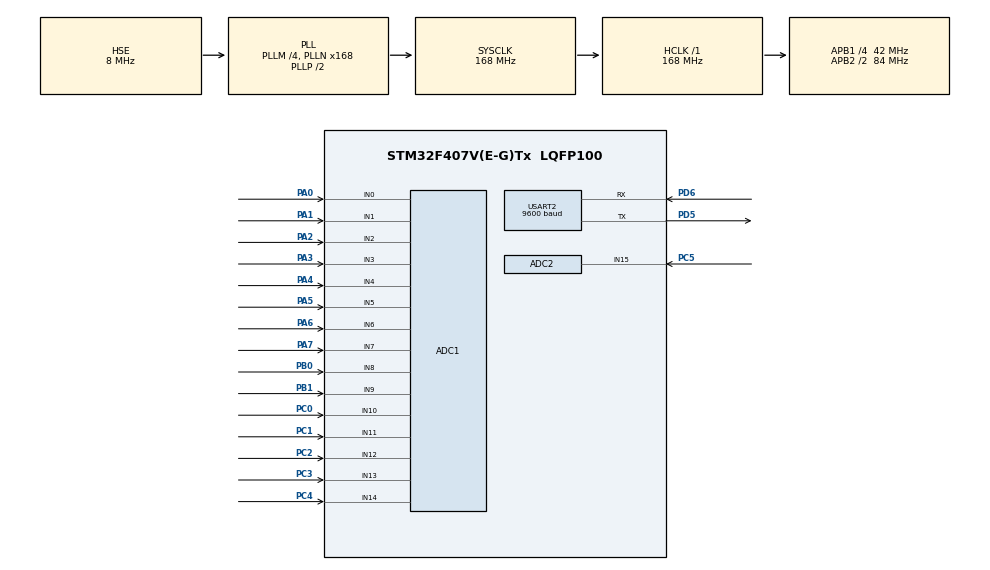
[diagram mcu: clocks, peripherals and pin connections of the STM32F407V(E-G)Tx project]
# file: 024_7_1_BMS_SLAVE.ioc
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ADC1.Channel-0\#ChannelRegularConversion=ADC_CHANNEL_VREFINT
ADC1.Channel-1\#ChannelRegularConversion=ADC_CHANNEL_0
ADC1.Channel-10\#ChannelRegularConversion=ADC_CHANNEL_9
ADC1.Channel-11\#ChannelRegularConversion=ADC_CHANNEL_10
ADC1.Channel-12\#ChannelRegularConversion=ADC_CHANNEL_11
ADC1.Channel-13\#ChannelRegularConversion=ADC_CHANNEL_12
ADC1.Channel-14\#ChannelRegularConversion=ADC_CHANNEL_13
ADC1.Channel-15\#ChannelRegularConversion=ADC_CHANNEL_14
ADC1.Channel-2\#ChannelRegularConversion=ADC_CHANNEL_1
ADC1.Channel-3\#ChannelRegularConversion=ADC_CHANNEL_2
ADC1.Channel-4\#ChannelRegularConversion=ADC_CHANNEL_3
ADC1.Channel-5\#ChannelRegularConversion=ADC_CHANNEL_4
ADC1.Channel-6\#ChannelRegularConversion=ADC_CHANNEL_5
ADC1.Channel-7\#ChannelRegularConversion=ADC_CHANNEL_6
ADC1.Channel-8\#ChannelRegularConversion=ADC_CHANNEL_7
ADC1.Channel-9\#ChannelRegularConversion=ADC_CHANNEL_8
ADC1.ClockPrescaler=ADC_CLOCK_SYNC_PCLK_DIV4
ADC1.ContinuousConvMode=ENABLE
ADC1.DMAContinuousRequests=ENABLE
ADC1.NbrOfConversion=16
ADC1.NbrOfConversionFlag=1
ADC1.Rank-0\#ChannelRegularConversion=1
ADC1.Rank-1\#ChannelRegularConversion=2
ADC1.Rank-10\#ChannelRegularConversion=11
ADC1.Rank-11\#ChannelRegularConversion=12
ADC1.Rank-12\#ChannelRegularConversion=13
ADC1.Rank-13\#ChannelRegularConversion=14
ADC1.Rank-14\#ChannelRegularConversion=15
ADC1.Rank-15\#ChannelRegularConversion=16
ADC1.Rank-2\#ChannelRegularConversion=3
ADC1.Rank-3\#ChannelRegularConversion=4
ADC1.Rank-4\#ChannelRegularConversion=5
ADC1.Rank-5\#ChannelRegularConversion=6
ADC1.Rank-6\#ChannelRegularConversion=7
ADC1.Rank-7\#ChannelRegularConversion=8
ADC1.Rank-8\#ChannelRegularConversion=9
ADC1.Rank-9\#ChannelRegularConversion=10
ADC1.SamplingTime-0\#ChannelRegularConversion=ADC_SAMPLETIME_84CYCLES
ADC1.SamplingTime-1\#ChannelRegularConversion=ADC_SAMPLETIME_84CYCLES
ADC1.SamplingTime-10\#ChannelRegularConversion=ADC_SAMPLETIME_84CYCLES
ADC1.SamplingTime-11\#ChannelRegularConversion=ADC_SAMPLETIME_84CYCLES
ADC1.SamplingTime-12\#ChannelRegularConversion=ADC_SAMPLETIME_84CYCLES
ADC1.SamplingTime-13\#ChannelRegularConversion=ADC_SAMPLETIME_84CYCLES
ADC1.SamplingTime-14\#ChannelRegularConversion=ADC_SAMPLETIME_84CYCLES
ADC1.SamplingTime-15\#ChannelRegularConversion=ADC_SAMPLETIME_84CYCLES
ADC1.SamplingTime-2\#ChannelRegularConversion=ADC_SAMPLETIME_84CYCLES
ADC1.SamplingTime-3\#ChannelRegularConversion=ADC_SAMPLETIME_84CYCLES
ADC1.SamplingTime-4\#ChannelRegularConversion=ADC_SAMPLETIME_84CYCLES
ADC1.SamplingTime-5\#ChannelRegularConversion=ADC_SAMPLETIME_84CYCLES
ADC1.SamplingTime-6\#ChannelRegularConversion=ADC_SAMPLETIME_84CYCLES
ADC1.SamplingTime-7\#ChannelRegularConversion=ADC_SAMPLETIME_84CYCLES
ADC1.SamplingTime-8\#ChannelRegularConversion=ADC_SAMPLETIME_84CYCLES
ADC1.SamplingTime-9\#ChannelRegularConversion=ADC_SAMPLETIME_84CYCLES
ADC1.ScanConvMode=ENABLE
ADC1.master=1
ADC2.Channel-0\#ChannelRegularConversion=ADC_CHANNEL_15
ADC2.NbrOfConversionFlag=1
ADC2.Rank-0\#ChannelRegularConversion=1
ADC2.SamplingTime-0\#ChannelRegularConversion=ADC_SAMPLETIME_84CYCLES
ADC2.ScanConvMode=ENABLE
Dma.ADC1.0.Direction=DMA_PERIPH_TO_MEMORY
Dma.ADC1.0.FIFOMode=DMA_FIFOMODE_DISABLE
Dma.ADC1.0.Instance=DMA2_Stream0
Dma.ADC1.0.MemDataAlignment=DMA_MDATAALIGN_HALFWORD
Dma.ADC1.0.MemInc=DMA_MINC_ENABLE
Dma.ADC1.0.Mode=DMA_CIRCULAR
Dma.ADC1.0.PeriphDataAlignment=DMA_PDATAALIGN_HALFWORD
Dma.ADC1.0.PeriphInc=DMA_PINC_DISABLE
Dma.ADC1.0.Priority=DMA_PRIORITY_VERY_HIGH
Dma.Request0=ADC1
Mcu.Family=STM32F4
Mcu.Name=STM32F407V(E-G)Tx
Mcu.Package=LQFP100
NVIC.DMA2_Stream0_IRQn=true\:0\:0\:false\:false\:true\:false\:true
NVIC.PriorityGroup=NVIC_PRIORITYGROUP_4
PA0-WKUP.Signal=ADCx_IN0
PA1.Signal=ADCx_IN1
PA2.Signal=ADCx_IN2
PA3.Signal=ADCx_IN3
PA4.Signal=ADCx_IN4
PA5.Signal=ADCx_IN5
PA6.Signal=ADCx_IN6
PA7.Signal=ADCx_IN7
PB0.Signal=ADCx_IN8
PB1.Signal=ADCx_IN9
PC0.Signal=ADCx_IN10
PC1.Signal=ADCx_IN11
PC2.Signal=ADCx_IN12
PC3.Signal=ADCx_IN13
PC4.Signal=ADCx_IN14
PC5.Signal=ADCx_IN15
PD5.Mode=Asynchronous
PD5.Signal=USART2_TX
PD6.Mode=Asynchronous
PD6.Signal=USART2_RX
PH0-OSC_IN.Mode=HSE-External-Oscillator
PH0-OSC_IN.Signal=RCC_OSC_IN
PH1-OSC_OUT.Mode=HSE-External-Oscillator
PH1-OSC_OUT.Signal=RCC_OSC_OUT
ProjectManager.HeapSize=0x200
ProjectManager.StackSize=0x400
ProjectManager.TargetToolchain=STM32CubeIDE
RCC.48MHZClocksFreq_Value=84000000
RCC.AHBFreq_Value=168000000
RCC.APB1CLKDivider=RCC_HCLK_DIV4
RCC.APB1Freq_Value=42000000
RCC.APB1TimFreq_Value=84000000
RCC.APB2CLKDivider=RCC_HCLK_DIV2
RCC.APB2Freq_Value=84000000
RCC.APB2TimFreq_Value=168000000
RCC.CortexFreq_Value=168000000
RCC.HCLKFreq_Value=168000000
RCC.HSE_VALUE=8000000
RCC.HSI_VALUE=16000000
RCC.LSE_VALUE=32768
RCC.PLLM=4
RCC.PLLN=168
RCC.PLLSourceVirtual=RCC_PLLSOURCE_HSE
RCC.SYSCLKFreq_VALUE=168000000
RCC.SYSCLKSource=RCC_SYSCLKSOURCE_PLLCLK
RCC.VCOOutputFreq_Value=336000000
SH.ADCx_IN0.0=ADC1_IN0,IN0
SH.ADCx_IN1.0=ADC1_IN1,IN1
SH.ADCx_IN10.0=ADC1_IN10,IN10
SH.ADCx_IN11.0=ADC1_IN11,IN11
SH.ADCx_IN12.0=ADC1_IN12,IN12
SH.ADCx_IN13.0=ADC1_IN13,IN13
SH.ADCx_IN14.0=ADC1_IN14,IN14
SH.ADCx_IN15.0=ADC2_IN15,IN15
SH.ADCx_IN2.0=ADC1_IN2,IN2
SH.ADCx_IN3.0=ADC1_IN3,IN3
SH.ADCx_IN4.0=ADC1_IN4,IN4
SH.ADCx_IN5.0=ADC1_IN5,IN5
SH.ADCx_IN6.0=ADC1_IN6,IN6
SH.ADCx_IN7.0=ADC1_IN7,IN7
SH.ADCx_IN8.0=ADC1_IN8,IN8
SH.ADCx_IN9.0=ADC1_IN9,IN9
USART2.BaudRate=9600
USART2.Mode=MODE_TX_RX
USART2.VirtualMode=VM_ASYNC
VP_ADC1_Vref_Input.Mode=IN-Vrefint
board=custom

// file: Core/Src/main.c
/* USER CODE BEGIN Header */
/**
  ******************************************************************************
  * @file           : main.c
  * @brief          : Main program body
  ******************************************************************************
  * @attention
  *
  * <h2><center>&copy; Copyright (c) 2021 STMicroelectronics.
  * All rights reserved.</center></h2>
  *
  * This software component is licensed by ST under BSD 3-Clause license,
  * the "License"; You may not use this file except in compliance with the
  * License. You may obtain a copy of the License at:
  *                        opensource.org/licenses/BSD-3-Clause
  *
  ******************************************************************************
  */
/* USER CODE END Header */
#include "main.h"

/* USER CODE BEGIN Includes */
#include "stdio.h"
#include "string.h"

#define VREFIN_CAL ((uint16_t*)((uint32_t)0x1FFF7A2A))

/* USER CODE END Includes */

ADC_HandleTypeDef hadc1;
ADC_HandleTypeDef hadc2;
DMA_HandleTypeDef hdma_adc1;

UART_HandleTypeDef huart2;

/* USER CODE BEGIN PV */
uint16_t adc_value[17];
//uint16_t adc_15;
float Vadc = 0, Vdda = 0;
float test = 0;
int i;
float V_CEL[16];
float pil[] = {71.576456, 43.267892, 95.734543, 88.55656};
char gonder[100] = "";

/* USER CODE END PV */

void SystemClock_Config(void);
static void MX_GPIO_Init(void);
static void MX_DMA_Init(void);
static void MX_ADC1_Init(void);
static void MX_ADC2_Init(void);
static void MX_USART2_UART_Init(void);

int main(void)
{

  /* MCU Configuration--------------------------------------------------------*/

  /* Reset of all peripherals, Initializes the Flash interface and the Systick. */
  HAL_Init();

  /* Configure the system clock */
  SystemClock_Config();

  /* Initialize all configured peripherals */
  MX_GPIO_Init();
  MX_DMA_Init();
  MX_ADC1_Init();
  MX_ADC2_Init();
  MX_USART2_UART_Init();
  /* USER CODE BEGIN 2 */
  HAL_ADC_Start_DMA(&hadc1, (uint32_t*)adc_value, 16);
  HAL_ADC_Start(&hadc2);

  /* USER CODE END 2 */

  /* Infinite loop */
  /* USER CODE BEGIN WHILE */
  while (1)
  {
	  // ADC 0. KANAL VREF VOLTAJI Dİ�?ERLERİ GERİLİM OKUMA "A1 > 22K-22K","A2 > 22K-10K","A2 -A3 > 22K-4.7K","A4-A20 <"
	  adc_value[16]=HAL_ADC_GetValue(&hadc2);
	  test = adc_value[0];
	  Vdda = (float) 3.3 * (*VREFIN_CAL) / test;
	  for(i=1; 16 >= i; i++)
	  {
		  V_CEL[i-1] = adc_value[i];
	  }
	  for(i=0; 15 >= i; i++)
	  {
		  V_CEL[i] = V_CEL[i] / 4095 * Vdda;
	  }
	  V_CEL[0] = V_CEL[0] * 2;//GERİLİM BÖLÜCÜ 22K-22K
	  V_CEL[1] = V_CEL[1] * (22000+10000) / 10000;//GERİLİM BÖLÜCÜ 22K-10K
	  V_CEL[2] = V_CEL[2] * (22000+4700) / 4700; // GERİLİM BÖLÜCÜ 22K-4700K
	  V_CEL[3] = V_CEL[3] * (22000+4700) / 4700; // GERİLİM BÖLÜCÜ 22K-4700K
	  for(i=4; 15 >= i; i++)
	  {
		  V_CEL[i] = V_CEL[i] * (22000+680) / 680; // GERİLİM BÖLÜCÜ 22K-680K
	  }
	  for(i=15; 0<i; i--)
	  {
		//  pil[i]=V_CEL[i]-V_CEL[i-1];
	  }
	  HAL_Delay(100);

	  sprintf(gonder, "%.2f,%.2f,%.2f", pil[0], pil[1], pil[2]);

	  if(HAL_UART_Transmit(&huart2, (uint8_t *)gonder, strlen(gonder), 100)!=HAL_OK){
		  Error_Handler();
	  }
	  HAL_Delay(1000);
//	  sprintf(gonder, "%.2f,%.2f,%.2f,%.2f,%.2f,%.2f,%.2f,%.2f,%.2f,%.2f,%.2f,%.2f,%.2f,%.2f,%.2f,%.2f,*", V_CEL[0], V_CEL[1], V_CEL[2], V_CEL[3], V_CEL[4], V_CEL[5], V_CEL[6], V_CEL[7], V_CEL[8],
//			  V_CEL[9], V_CEL[10], V_CEL[11], V_CEL[12], V_CEL[13], V_CEL[14], V_CEL[15]);
//
//	  if(HAL_UART_Transmit(&huart2, (uint8_t *)gonder, strlen(gonder), 5000)!=HAL_OK){
//		  Error_Handler();
//	  }

	  HAL_Delay(100);
	  HAL_Delay(500);
    /* USER CODE END WHILE */

  }
}

void SystemClock_Config(void)
{
  RCC_OscInitTypeDef RCC_OscInitStruct = {0};
  RCC_ClkInitTypeDef RCC_ClkInitStruct = {0};

  /** Configure the main internal regulator output voltage
  */
  __HAL_RCC_PWR_CLK_ENABLE();
  __HAL_PWR_VOLTAGESCALING_CONFIG(PWR_REGULATOR_VOLTAGE_SCALE1);
  /** Initializes the RCC Oscillators according to the specified parameters
  * in the RCC_OscInitTypeDef structure.
  */
  RCC_OscInitStruct.OscillatorType = RCC_OSCILLATORTYPE_HSE;
  RCC_OscInitStruct.HSEState = RCC_HSE_ON;
  RCC_OscInitStruct.PLL.PLLState = RCC_PLL_ON;
  RCC_OscInitStruct.PLL.PLLSource = RCC_PLLSOURCE_HSE;
  RCC_OscInitStruct.PLL.PLLM = 4;
  RCC_OscInitStruct.PLL.PLLN = 168;
  RCC_OscInitStruct.PLL.PLLP = RCC_PLLP_DIV2;
  RCC_OscInitStruct.PLL.PLLQ = 4;
  if (HAL_RCC_OscConfig(&RCC_OscInitStruct) != HAL_OK)
  {
    Error_Handler();
  }
  /** Initializes the CPU, AHB and APB buses clocks
  */
  RCC_ClkInitStruct.ClockType = RCC_CLOCKTYPE_HCLK|RCC_CLOCKTYPE_SYSCLK
                              |RCC_CLOCKTYPE_PCLK1|RCC_CLOCKTYPE_PCLK2;
  RCC_ClkInitStruct.SYSCLKSource = RCC_SYSCLKSOURCE_PLLCLK;
  RCC_ClkInitStruct.AHBCLKDivider = RCC_SYSCLK_DIV1;
  RCC_ClkInitStruct.APB1CLKDivider = RCC_HCLK_DIV4;
  RCC_ClkInitStruct.APB2CLKDivider = RCC_HCLK_DIV2;

  if (HAL_RCC_ClockConfig(&RCC_ClkInitStruct, FLASH_LATENCY_5) != HAL_OK)
  {
    Error_Handler();
  }
}

static void MX_ADC1_Init(void)
{

  ADC_ChannelConfTypeDef sConfig = {0};

  /** Configure the global features of the ADC (Clock, Resolution, Data Alignment and number of conversion)
  */
  hadc1.Instance = ADC1;
  hadc1.Init.ClockPrescaler = ADC_CLOCK_SYNC_PCLK_DIV4;
  hadc1.Init.Resolution = ADC_RESOLUTION_12B;
  hadc1.Init.ScanConvMode = ENABLE;
  hadc1.Init.ContinuousConvMode = ENABLE;
  hadc1.Init.DiscontinuousConvMode = DISABLE;
  hadc1.Init.ExternalTrigConvEdge = ADC_EXTERNALTRIGCONVEDGE_NONE;
  hadc1.Init.ExternalTrigConv = ADC_SOFTWARE_START;
  hadc1.Init.DataAlign = ADC_DATAALIGN_RIGHT;
  hadc1.Init.NbrOfConversion = 16;
  hadc1.Init.DMAContinuousRequests = ENABLE;
  hadc1.Init.EOCSelection = ADC_EOC_SINGLE_CONV;
  if (HAL_ADC_Init(&hadc1) != HAL_OK)
  {
    Error_Handler();
  }
  /** Configure for the selected ADC regular channel its corresponding rank in the sequencer and its sample time.
  */
  sConfig.Channel = ADC_CHANNEL_VREFINT;
  sConfig.Rank = 1;
  sConfig.SamplingTime = ADC_SAMPLETIME_84CYCLES;
  if (HAL_ADC_ConfigChannel(&hadc1, &sConfig) != HAL_OK)
  {
    Error_Handler();
  }
  /** Configure for the selected ADC regular channel its corresponding rank in the sequencer and its sample time.
  */
  sConfig.Channel = ADC_CHANNEL_0;
  sConfig.Rank = 2;
  if (HAL_ADC_ConfigChannel(&hadc1, &sConfig) != HAL_OK)
  {
    Error_Handler();
  }
  /** Configure for the selected ADC regular channel its corresponding rank in the sequencer and its sample time.
  */
  sConfig.Channel = ADC_CHANNEL_1;
  sConfig.Rank = 3;
  if (HAL_ADC_ConfigChannel(&hadc1, &sConfig) != HAL_OK)
  {
    Error_Handler();
  }
  /** Configure for the selected ADC regular channel its corresponding rank in the sequencer and its sample time.
  */
  sConfig.Channel = ADC_CHANNEL_2;
  sConfig.Rank = 4;
  if (HAL_ADC_ConfigChannel(&hadc1, &sConfig) != HAL_OK)
  {
    Error_Handler();
  }
  /** Configure for the selected ADC regular channel its corresponding rank in the sequencer and its sample time.
  */
  sConfig.Channel = ADC_CHANNEL_3;
  sConfig.Rank = 5;
  if (HAL_ADC_ConfigChannel(&hadc1, &sConfig) != HAL_OK)
  {
    Error_Handler();
  }
  /** Configure for the selected ADC regular channel its corresponding rank in the sequencer and its sample time.
  */
  sConfig.Channel = ADC_CHANNEL_4;
  sConfig.Rank = 6;
  if (HAL_ADC_ConfigChannel(&hadc1, &sConfig) != HAL_OK)
  {
    Error_Handler();
  }
  /** Configure for the selected ADC regular channel its corresponding rank in the sequencer and its sample time.
  */
  sConfig.Channel = ADC_CHANNEL_5;
  sConfig.Rank = 7;
  if (HAL_ADC_ConfigChannel(&hadc1, &sConfig) != HAL_OK)
  {
    Error_Handler();
  }
  /** Configure for the selected ADC regular channel its corresponding rank in the sequencer and its sample time.
  */
  sConfig.Channel = ADC_CHANNEL_6;
  sConfig.Rank = 8;
  if (HAL_ADC_ConfigChannel(&hadc1, &sConfig) != HAL_OK)
  {
    Error_Handler();
  }
  /** Configure for the selected ADC regular channel its corresponding rank in the sequencer and its sample time.
  */
  sConfig.Channel = ADC_CHANNEL_7;
  sConfig.Rank = 9;
  if (HAL_ADC_ConfigChannel(&hadc1, &sConfig) != HAL_OK)
  {
    Error_Handler();
  }
  /** Configure for the selected ADC regular channel its corresponding rank in the sequencer and its sample time.
  */
  sConfig.Channel = ADC_CHANNEL_8;
  sConfig.Rank = 10;
  if (HAL_ADC_ConfigChannel(&hadc1, &sConfig) != HAL_OK)
  {
    Error_Handler();
  }
  /** Configure for the selected ADC regular channel its corresponding rank in the sequencer and its sample time.
  */
  sConfig.Channel = ADC_CHANNEL_9;
  sConfig.Rank = 11;
  if (HAL_ADC_ConfigChannel(&hadc1, &sConfig) != HAL_OK)
  {
    Error_Handler();
  }
  /** Configure for the selected ADC regular channel its corresponding rank in the sequencer and its sample time.
  */
  sConfig.Channel = ADC_CHANNEL_10;
  sConfig.Rank = 12;
  if (HAL_ADC_ConfigChannel(&hadc1, &sConfig) != HAL_OK)
  {
    Error_Handler();
  }
  /** Configure for the selected ADC regular channel its corresponding rank in the sequencer and its sample time.
  */
  sConfig.Channel = ADC_CHANNEL_11;
  sConfig.Rank = 13;
  if (HAL_ADC_ConfigChannel(&hadc1, &sConfig) != HAL_OK)
  {
    Error_Handler();
  }
  /** Configure for the selected ADC regular channel its corresponding rank in the sequencer and its sample time.
  */
  sConfig.Channel = ADC_CHANNEL_12;
  sConfig.Rank = 14;
  if (HAL_ADC_ConfigChannel(&hadc1, &sConfig) != HAL_OK)
  {
    Error_Handler();
  }
  /** Configure for the selected ADC regular channel its corresponding rank in the sequencer and its sample time.
  */
  sConfig.Channel = ADC_CHANNEL_13;
  sConfig.Rank = 15;
  if (HAL_ADC_ConfigChannel(&hadc1, &sConfig) != HAL_OK)
  {
    Error_Handler();
  }
  /** Configure for the selected ADC regular channel its corresponding rank in the sequencer and its sample time.
  */
  sConfig.Channel = ADC_CHANNEL_14;
  sConfig.Rank = 16;
  if (HAL_ADC_ConfigChannel(&hadc1, &sConfig) != HAL_OK)
  {
    Error_Handler();
  }

}

static void MX_ADC2_Init(void)
{

  ADC_ChannelConfTypeDef sConfig = {0};

  /** Configure the global features of the ADC (Clock, Resolution, Data Alignment and number of conversion)
  */
  hadc2.Instance = ADC2;
  hadc2.Init.ClockPrescaler = ADC_CLOCK_SYNC_PCLK_DIV4;
  hadc2.Init.Resolution = ADC_RESOLUTION_12B;
  hadc2.Init.ScanConvMode = ENABLE;
  hadc2.Init.ContinuousConvMode = ENABLE;
  hadc2.Init.DiscontinuousConvMode = DISABLE;
  hadc2.Init.ExternalTrigConvEdge = ADC_EXTERNALTRIGCONVEDGE_NONE;
  hadc2.Init.ExternalTrigConv = ADC_SOFTWARE_START;
  hadc2.Init.DataAlign = ADC_DATAALIGN_RIGHT;
  hadc2.Init.NbrOfConversion = 1;
  hadc2.Init.DMAContinuousRequests = DISABLE;
  hadc2.Init.EOCSelection = ADC_EOC_SINGLE_CONV;
  if (HAL_ADC_Init(&hadc2) != HAL_OK)
  {
    Error_Handler();
  }
  /** Configure for the selected ADC regular channel its corresponding rank in the sequencer and its sample time.
  */
  sConfig.Channel = ADC_CHANNEL_15;
  sConfig.Rank = 1;
  sConfig.SamplingTime = ADC_SAMPLETIME_84CYCLES;
  if (HAL_ADC_ConfigChannel(&hadc2, &sConfig) != HAL_OK)
  {
    Error_Handler();
  }

}

static void MX_USART2_UART_Init(void)
{

  huart2.Instance = USART2;
  huart2.Init.BaudRate = 9600;
  huart2.Init.WordLength = UART_WORDLENGTH_8B;
  huart2.Init.StopBits = UART_STOPBITS_1;
  huart2.Init.Parity = UART_PARITY_NONE;
  huart2.Init.Mode = UART_MODE_TX_RX;
  huart2.Init.HwFlowCtl = UART_HWCONTROL_NONE;
  huart2.Init.OverSampling = UART_OVERSAMPLING_16;
  if (HAL_UART_Init(&huart2) != HAL_OK)
  {
    Error_Handler();
  }

}

static void MX_DMA_Init(void)
{

  /* DMA controller clock enable */
  __HAL_RCC_DMA2_CLK_ENABLE();

  /* DMA interrupt init */
  /* DMA2_Stream0_IRQn interrupt configuration */
  HAL_NVIC_SetPriority(DMA2_Stream0_IRQn, 0, 0);
  HAL_NVIC_EnableIRQ(DMA2_Stream0_IRQn);

}

static void MX_GPIO_Init(void)
{

  /* GPIO Ports Clock Enable */
  __HAL_RCC_GPIOH_CLK_ENABLE();
  __HAL_RCC_GPIOC_CLK_ENABLE();
  __HAL_RCC_GPIOA_CLK_ENABLE();
  __HAL_RCC_GPIOB_CLK_ENABLE();
  __HAL_RCC_GPIOD_CLK_ENABLE();

}

void Error_Handler(void)
{
  __disable_irq();
  while (1)
  {
  }
}

/************************ (C) COPYRIGHT STMicroelectronics *****END OF FILE****/
